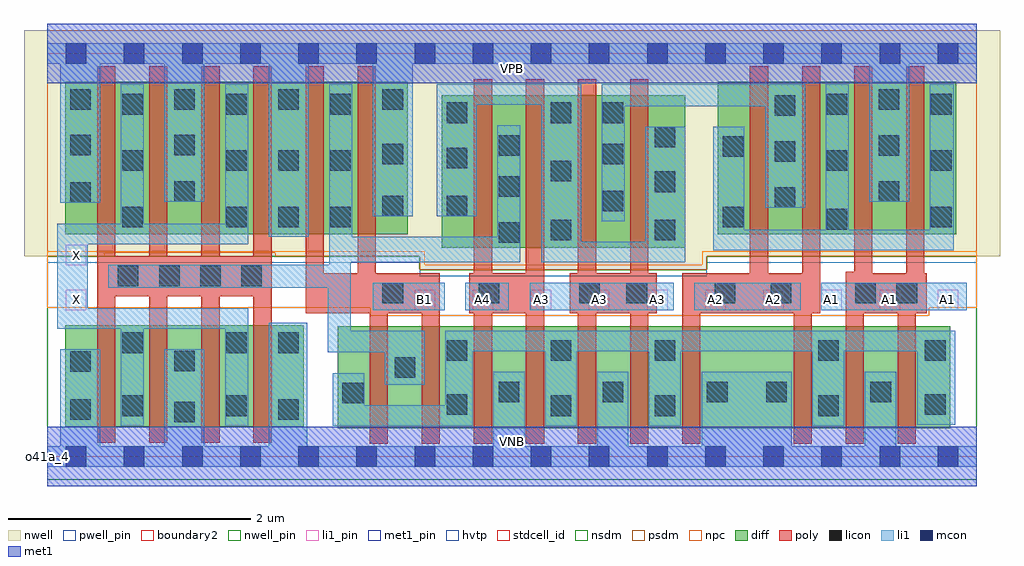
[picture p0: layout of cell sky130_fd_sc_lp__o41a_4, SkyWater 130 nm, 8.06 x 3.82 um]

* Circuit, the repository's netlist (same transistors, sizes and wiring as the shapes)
* Copyright 2020 The SkyWater PDK Authors
*
* Licensed under the Apache License, Version 2.0 (the "License");
* you may not use this file except in compliance with the License.
* You may obtain a copy of the License at
*
*     https://www.apache.org/licenses/LICENSE-2.0
*
* Unless required by applicable law or agreed to in writing, software
* distributed under the License is distributed on an "AS IS" BASIS,
* WITHOUT WARRANTIES OR CONDITIONS OF ANY KIND, either express or implied.
* See the License for the specific language governing permissions and
* limitations under the License.
*
* SPDX-License-Identifier: Apache-2.0

.SUBCKT sky130_fd_sc_lp__o41a_4 A1 A2 A3 A4 B1 VGND VNB VPB VPWR X
*.PININFO A1:I A2:I A3:I A4:I B1:I VGND:I VNB:I VPB:I VPWR:I X:O
MMPA0 VPWR A1 sndA1 VPB sky130_fd_pr__pfet_01v8_hvt m=2 w=1.26U l=0.15U mult=1
+ sa=0.265 sb=0.265 sd=0.28 area=0.063 perim=1.14
MMPA1 sndA1 A2 sndA2 VPB sky130_fd_pr__pfet_01v8_hvt m=2 w=1.26U l=0.15U mult=1
+ sa=0.265 sb=0.265 sd=0.28 area=0.063 perim=1.14
MMPA2 sndA2 A3 sndA3 VPB sky130_fd_pr__pfet_01v8_hvt m=2 w=1.26U l=0.15U mult=1
+ sa=0.265 sb=0.265 sd=0.28 area=0.063 perim=1.14
MMPA3 sndA3 A4 y VPB sky130_fd_pr__pfet_01v8_hvt m=2 w=1.26U l=0.15U mult=1 sa=0.265
+ sb=0.265 sd=0.28 area=0.063 perim=1.14
MMPB0 VPWR B1 y VPB sky130_fd_pr__pfet_01v8_hvt m=2 w=1.26U l=0.15U mult=1 sa=0.265
+ sb=0.265 sd=0.28 area=0.063 perim=1.14
MMIPX X y VPWR VPB sky130_fd_pr__pfet_01v8_hvt m=4 w=1.26U l=0.15U mult=1 sa=0.265
+ sb=0.265 sd=0.28 area=0.063 perim=1.14
MMNA0 pndA A1 VGND VNB sky130_fd_pr__nfet_01v8 m=2 w=0.84U l=0.15U mult=1 sa=0.265
+ sb=0.265 sd=0.28 area=0.063 perim=1.14
MMNA1 pndA A2 VGND VNB sky130_fd_pr__nfet_01v8 m=2 w=0.84U l=0.15U mult=1 sa=0.265
+ sb=0.265 sd=0.28 area=0.063 perim=1.14
MMNA2 pndA A3 VGND VNB sky130_fd_pr__nfet_01v8 m=2 w=0.84U l=0.15U mult=1 sa=0.265
+ sb=0.265 sd=0.28 area=0.063 perim=1.14
MMNA3 pndA A4 VGND VNB sky130_fd_pr__nfet_01v8 m=2 w=0.84U l=0.15U mult=1 sa=0.265
+ sb=0.265 sd=0.28 area=0.063 perim=1.14
MMNB0 y B1 pndA VNB sky130_fd_pr__nfet_01v8 m=2 w=0.84U l=0.15U mult=1 sa=0.265
+ sb=0.265 sd=0.28 area=0.063 perim=1.14
MMINX X y VGND VNB sky130_fd_pr__nfet_01v8 m=4 w=0.84U l=0.15U mult=1 sa=0.265
+ sb=0.265 sd=0.28 area=0.063 perim=1.14
.ENDS sky130_fd_sc_lp__o41a_4

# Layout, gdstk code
import gdstk
lib = gdstk.Library(unit=1e-6, precision=1e-09)
def R(c, l, rs):  # rectangles x0, y0, x1, y1
    for r in rs: c.add(gdstk.rectangle(r[:2], r[2:], *l))
def A(c, l, x, y, w, h, nx, ny, dx, dy):  # array of equal rectangles
    R(c, l, [(x+i*dx, y+j*dy, x+i*dx+w, y+j*dy+h) for i in range(nx) for j in range(ny)])
def P(c, l, *ps):  # polygons
    for p in ps: c.add(gdstk.Polygon(p, *l))
nwell_pin = (64, 16)
nwell = (64, 20)
diff = (65, 20)
poly = (66, 20)
licon = (66, 44)
li1_pin = (67, 16)
li1 = (67, 20)
mcon = (67, 44)
met1_pin = (68, 16)
met1 = (68, 20)
hvtp = (78, 44)
stdcell_id = (81, 4)
nsdm = (93, 44)
psdm = (94, 20)
npc = (95, 20)
pwell_pin = (122, 16)
boundary2 = (236, 0)

sky130_fd_sc_lp__o41a_4 = lib.new_cell('sky130_fd_sc_lp__o41a_4')
R(sky130_fd_sc_lp__o41a_4, nwell_pin, [(0,3.085,7.68,3.33)])
P(sky130_fd_sc_lp__o41a_4, nwell, [(7.87,3.52),(-0.19,3.52),(-0.19,1.655),(3.08,1.655),(3.08,1.545),(5.45,1.545),(5.45,1.655),(7.87,1.655)])
R(sky130_fd_sc_lp__o41a_4, diff, [(2.4,0.235,7.46,1.075), (0.15,0.245,2.12,1.085), (3.26,1.725,5.27,2.985), (0.15,1.835,2.98,3.095), (5.54,1.835,7.51,3.095)])
P(sky130_fd_sc_lp__o41a_4, poly, [(1.855,3.225),(1.705,3.225),(1.705,1.655),(1.425,1.655),(1.425,3.225),(1.275,3.225),(1.275,1.655),(0.995,1.655),(0.995,3.225),(0.845,3.225),(0.845,1.655),(0.565,1.655),(0.565,3.225),(0.415,3.225),(0.415,0.115),(0.565,0.115),(0.565,1.325),(0.845,1.325),(0.845,0.115),(0.995,0.115),(0.995,1.325),(1.275,1.325),(1.275,0.115),(1.425,0.115),(1.425,1.325),(1.705,1.325),(1.705,0.115),(1.855,0.115)],
  [(3.245,1.515),(2.715,1.515),(2.715,3.225),(2.565,3.225),(2.565,1.515),(2.285,1.515),(2.285,3.225),(2.135,3.225),(2.135,1.185),(2.665,1.185),(2.665,0.105),(2.815,0.105),(2.815,1.185),(3.095,1.185),(3.095,0.105),(3.245,0.105)],
  [(4.105,3.115),(3.955,3.115),(3.955,1.515),(3.675,1.515),(3.675,3.115),(3.525,3.115),(3.525,1.515),(3.485,1.515),(3.485,1.185),(3.525,1.185),(3.525,0.105),(3.675,0.105),(3.675,1.185),(3.955,1.185),(3.955,0.105),(4.105,0.105)],
  [(5.035,1.515),(4.965,1.515),(4.965,3.115),(4.815,3.115),(4.815,1.515),(4.535,1.515),(4.535,3.115),(4.385,3.115),(4.385,1.515),(4.315,1.515),(4.315,1.185),(4.385,1.185),(4.385,0.105),(4.535,0.105),(4.535,1.185),(4.815,1.185),(4.815,0.105),(4.965,0.105),(4.965,1.185),(5.035,1.185)],
  [(6.385,3.225),(6.235,3.225),(6.235,1.515),(5.955,1.515),(5.955,3.225),(5.805,3.225),(5.805,1.515),(5.245,1.515),(5.245,0.105),(5.395,0.105),(5.395,1.185),(6.165,1.185),(6.165,0.105),(6.315,0.105),(6.315,1.185),(6.385,1.185)],
  [(7.265,1.515),(7.245,1.515),(7.245,3.225),(7.095,3.225),(7.095,1.515),(6.815,1.515),(6.815,3.225),(6.665,3.225),(6.665,1.525),(6.595,1.525),(6.595,0.105),(6.745,0.105),(6.745,1.185),(7.025,1.185),(7.025,0.105),(7.175,0.105),(7.175,1.185),(7.265,1.185)])
A(sky130_fd_sc_lp__o41a_4, licon, 3.73, 0.45, 0.17, 0.17, 3, 1, 0.86, 0)
A(sky130_fd_sc_lp__o41a_4, licon, 3.3, 0.79, 0.17, 0.17, 3, 1, 0.86, 0)
A(sky130_fd_sc_lp__o41a_4, licon, 0.585, 1.405, 0.17, 0.17, 4, 1, 0.34, 0)
A(sky130_fd_sc_lp__o41a_4, licon, 1.48, 1.895, 0.17, 0.17, 3, 2, 0.43, 0.465)
A(sky130_fd_sc_lp__o41a_4, licon, 7.3, 1.895, 0.17, 0.17, 1, 3, 0, 0.465)
A(sky130_fd_sc_lp__o41a_4, licon, 6.01, 2.055, 0.17, 0.17, 1, 3, 0, 0.38)
A(sky130_fd_sc_lp__o41a_4, licon, 6.87, 2.105, 0.17, 0.17, 1, 3, 0, 0.38)
A(sky130_fd_sc_lp__o41a_4, licon, 0.62, 2.825, 0.17, 0.17, 3, 1, 0.86, 0)
A(sky130_fd_sc_lp__o41a_4, licon, 0.19, 2.865, 0.17, 0.17, 4, 1, 0.86, 0)
R(sky130_fd_sc_lp__o41a_4, licon, [(1.05,0.285,1.22,0.455), (0.19,0.305,0.36,0.475), (1.91,0.305,2.08,0.475), (0.62,0.335,0.79,0.505), (1.48,0.335,1.65,0.505), (4.16,0.335,4.33,0.505), (5.02,0.335,5.19,0.505), (6.37,0.335,6.54,0.505), (3.3,0.345,3.47,0.515), (7.25,0.345,7.42,0.515), (2.44,0.44,2.61,0.61), (5.94,0.45,6.11,0.62), (6.8,0.45,6.97,0.62), (2.87,0.65,3.04,0.82), (0.19,0.7,0.36,0.87), (1.05,0.705,1.22,0.875), (6.37,0.79,6.54,0.96), (7.25,0.79,7.42,0.96), (0.62,0.855,0.79,1.025), (1.48,0.855,1.65,1.025), (1.91,0.855,2.08,1.025), (2.77,1.265,2.94,1.435), (3.565,1.265,3.735,1.435), (4.395,1.265,4.565,1.435), (4.785,1.265,4.955,1.435), (5.515,1.265,5.685,1.435), (5.975,1.265,6.145,1.435), (6.675,1.265,6.845,1.435), (7.015,1.265,7.185,1.435), (3.73,1.765,3.9,1.935), (4.16,1.785,4.33,1.955), (5.02,1.785,5.19,1.955), (6.44,1.875,6.61,2.045), (0.62,1.895,0.79,2.065), (5.58,1.895,5.75,2.065), (2.77,1.985,2.94,2.155), (3.3,1.985,3.47,2.155), (4.59,2.025,4.76,2.195), (0.19,2.095,0.36,2.265), (1.05,2.105,1.22,2.275), (3.73,2.145,3.9,2.315), (5.02,2.185,5.19,2.355), (4.16,2.275,4.33,2.445), (0.62,2.36,0.79,2.53), (6.44,2.36,6.61,2.53), (3.3,2.38,3.47,2.55), (2.77,2.415,2.94,2.585), (4.59,2.415,4.76,2.585), (5.58,2.475,5.75,2.645), (3.73,2.485,3.9,2.655), (0.19,2.49,0.36,2.66), (1.05,2.49,1.22,2.66), (5.02,2.555,5.19,2.725), (3.3,2.755,3.47,2.925), (4.16,2.755,4.33,2.925), (4.59,2.755,4.76,2.925), (6.44,2.825,6.61,2.995)])
A(sky130_fd_sc_lp__o41a_4, li1_pin, 3.035, 1.21, 0.17, 0.17, 10, 1, 0.48, 0)
R(sky130_fd_sc_lp__o41a_4, li1_pin, [(0.155,1.21,0.325,1.38), (0.155,1.58,0.325,1.75)])
R(sky130_fd_sc_lp__o41a_4, li1, [(2.69,1.21,3.285,1.435), (3.455,1.21,3.815,1.435), (3.985,1.21,5.175,1.435), (5.345,1.21,6.225,1.435), (6.395,1.21,7.595,1.435)])
P(sky130_fd_sc_lp__o41a_4, li1, [(2.69,1.985),(2.69,3.245),(2.16,3.245),(2.16,1.815),(1.83,1.815),(1.83,3.245),(1.3,3.245),(1.3,2.105),(0.97,2.105),(0.97,3.245),(0.44,3.245),(0.44,2.095),(0.11,2.095),(0.11,3.245),(0,3.245),(0,3.415),(7.68,3.415),(7.68,3.245),(7.12,3.245),(7.12,2.105),(6.79,2.105),(6.79,3.245),(3.02,3.245),(3.02,1.985)],
  [(4.545,0.085),(4.545,0.7),(4.8,0.7),(4.8,0.085),(5.405,0.085),(5.405,0.7),(6.15,0.7),(6.15,0.085),(6.755,0.085),(6.755,0.7),(7.015,0.7),(7.015,0.085),(7.68,0.085),(7.68,-0.085),(0,-0.085),(0,0.085),(0.11,0.085),(0.11,0.885),(0.44,0.885),(0.44,0.085),(0.97,0.085),(0.97,0.885),(1.3,0.885),(1.3,0.085),(1.83,0.085),(1.83,1.105),(2.15,1.105),(2.15,0.085),(3.685,0.085),(3.685,0.7),(3.945,0.7),(3.945,0.085)],
  [(2.33,1.585),(2.33,3.075),(2.52,3.075),(2.52,1.815),(3.72,1.815),(3.72,2.735),(3.91,2.735),(3.91,1.605),(2.51,1.605),(2.51,1.04),(3.12,1.04),(3.12,0.595),(2.79,0.595),(2.79,0.86),(2.32,0.86),(2.32,1.395),(0.505,1.395),(0.505,1.585)],
  [(6.62,1.875),(7.29,1.875),(7.29,3.075),(7.49,3.075),(7.49,1.705),(5.5,1.705),(5.5,2.725),(5.76,2.725),(5.76,1.875),(6.43,1.875),(6.43,3.075),(6.62,3.075)],
  [(5.93,2.895),(4.77,2.895),(4.77,1.945),(4.58,1.945),(4.58,3.075),(6.26,3.075),(6.26,2.055),(5.93,2.055)],
  [(4.41,1.775),(4.94,1.775),(4.94,2.725),(5.27,2.725),(5.27,1.605),(4.08,1.605),(4.08,2.905),(3.55,2.905),(3.55,1.985),(3.22,1.985),(3.22,3.075),(4.41,3.075)],
  [(0.8,1.925),(1.47,1.925),(1.47,3.075),(1.66,3.075),(1.66,1.755),(0.335,1.755),(0.335,1.225),(1.66,1.225),(1.66,0.255),(1.47,0.255),(1.47,1.055),(0.8,1.055),(0.8,0.255),(0.61,0.255),(0.61,1.055),(0.085,1.055),(0.085,1.925),(0.61,1.925),(0.61,3.075),(0.8,3.075)],
  [(7.185,0.87),(6.585,0.87),(6.585,0.255),(6.32,0.255),(6.32,0.87),(5.235,0.87),(5.235,0.255),(4.97,0.255),(4.97,0.87),(4.375,0.87),(4.375,0.255),(4.115,0.255),(4.115,0.87),(3.515,0.87),(3.515,0.255),(2.36,0.255),(2.36,0.69),(2.62,0.69),(2.62,0.425),(3.29,0.425),(3.29,1.04),(7.5,1.04),(7.5,0.265),(7.185,0.265)])
A(sky130_fd_sc_lp__o41a_4, mcon, 0.155, -0.085, 0.17, 0.17, 16, 2, 0.48, 3.33)
R(sky130_fd_sc_lp__o41a_4, met1_pin, [(0,0,7.68,0.245), (0,3.085,7.68,3.33)])
R(sky130_fd_sc_lp__o41a_4, met1, [(0,-0.245,7.68,0.245), (0,3.085,7.68,3.575)])
P(sky130_fd_sc_lp__o41a_4, hvtp, [(7.68,3.33),(0,3.33),(0,1.6),(3.08,1.6),(3.08,1.49),(5.45,1.49),(5.45,1.6),(7.68,1.6)])
R(sky130_fd_sc_lp__o41a_4, stdcell_id, [(0,0,7.68,3.33)])
P(sky130_fd_sc_lp__o41a_4, nsdm, [(7.68,1.655),(5.45,1.655),(5.45,1.545),(3.08,1.545),(3.08,1.655),(0,1.655),(0,-0.19),(7.68,-0.19)])
P(sky130_fd_sc_lp__o41a_4, psdm, [(7.68,3.52),(0,3.52),(0,1.655),(0.475,1.655),(0.475,1.685),(1.885,1.685),(1.885,1.655),(3.08,1.655),(3.08,1.545),(5.45,1.545),(5.45,1.655),(7.68,1.655)])
P(sky130_fd_sc_lp__o41a_4, npc, [(7.68,1.695),(5.41,1.695),(5.41,1.585),(3.12,1.585),(3.12,1.695),(0,1.695),(0,1.23),(2.67,1.23),(2.67,1.165),(7.285,1.165),(7.285,1.23),(7.68,1.23)])
R(sky130_fd_sc_lp__o41a_4, pwell_pin, [(0,0,7.68,0.245)])
R(sky130_fd_sc_lp__o41a_4, boundary2, [(0,0,7.68,3.33)])
sky130_fd_sc_lp__o41a_4.add(gdstk.Label('VNB', (3.84,0.123), layer=64, texttype=59))
sky130_fd_sc_lp__o41a_4.add(gdstk.Label('VPB', (3.84,3.208), layer=64, texttype=5))
sky130_fd_sc_lp__o41a_4.add(gdstk.Label('o41a_4', (0,0), layer=83, texttype=44))
sky130_fd_sc_lp__o41a_4.add(gdstk.Label('VPWR', (3.84,3.208), layer=68, texttype=5))
sky130_fd_sc_lp__o41a_4.add(gdstk.Label('VGND', (3.84,0.123), layer=68, texttype=5))
sky130_fd_sc_lp__o41a_4.add(gdstk.Label('A1', (6.48,1.295), layer=67, texttype=5))
sky130_fd_sc_lp__o41a_4.add(gdstk.Label('A1', (6.96,1.295), layer=67, texttype=5))
sky130_fd_sc_lp__o41a_4.add(gdstk.Label('A1', (7.44,1.295), layer=67, texttype=5))
sky130_fd_sc_lp__o41a_4.add(gdstk.Label('A2', (5.52,1.295), layer=67, texttype=5))
sky130_fd_sc_lp__o41a_4.add(gdstk.Label('A2', (6,1.295), layer=67, texttype=5))
sky130_fd_sc_lp__o41a_4.add(gdstk.Label('A3', (4.08,1.295), layer=67, texttype=5))
sky130_fd_sc_lp__o41a_4.add(gdstk.Label('A3', (4.56,1.295), layer=67, texttype=5))
sky130_fd_sc_lp__o41a_4.add(gdstk.Label('A3', (5.04,1.295), layer=67, texttype=5))
sky130_fd_sc_lp__o41a_4.add(gdstk.Label('A4', (3.6,1.295), layer=67, texttype=5))
sky130_fd_sc_lp__o41a_4.add(gdstk.Label('B1', (3.12,1.295), layer=67, texttype=5))
sky130_fd_sc_lp__o41a_4.add(gdstk.Label('X', (0.24,1.295), layer=67, texttype=5))
sky130_fd_sc_lp__o41a_4.add(gdstk.Label('X', (0.24,1.665), layer=67, texttype=5))

lib.write_gds('sky130_fd_sc_lp__o41a_4.gds')
